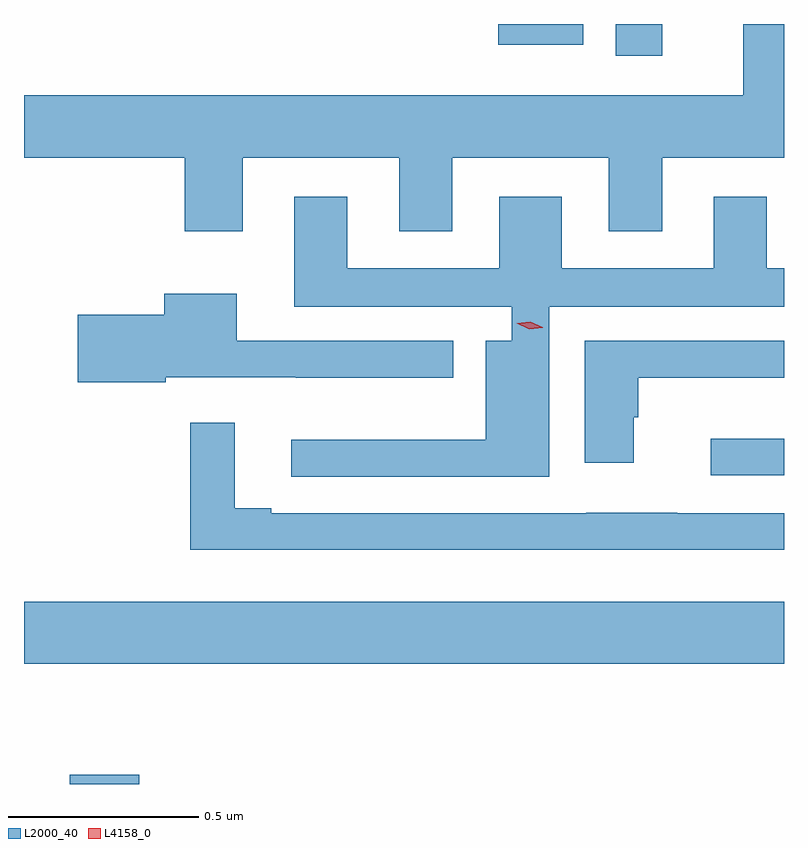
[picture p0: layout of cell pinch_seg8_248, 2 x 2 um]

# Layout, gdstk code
import gdstk
lib = gdstk.Library(unit=1e-6, precision=1e-09)
def R(c, l, rs):  # rectangles x0, y0, x1, y1
    for r in rs: c.add(gdstk.rectangle(r[:2], r[2:], *l))
def P(c, l, *ps):  # polygons
    for p in ps: c.add(gdstk.Polygon(p, *l))
L2000_40 = (2000, 40)
L4158_0 = (4158, 0)

pinch_seg8_248 = lib.new_cell('pinch_seg8_248')
R(pinch_seg8_248, L2000_40, [(812.906,1116.184,813.089,1116.208), (812.786,1116.5,814.786,1116.664), (814.593,1116.996,814.786,1117.093), (814.343,1118.1,814.465,1118.184), (814.034,1118.129,814.258,1118.184)])
P(pinch_seg8_248, L2000_40, [(813.361,1117.832),(813.773,1117.832),(813.773,1117.638),(813.913,1117.638),(813.913,1117.832),(814.325,1117.832),(814.325,1117.638),(814.465,1117.638),(814.465,1117.832),(814.786,1117.832),(814.786,1118.184),(814.679,1118.184),(814.679,1117.996),(812.786,1117.996),(812.786,1117.832),(813.209,1117.832),(813.209,1117.638),(813.361,1117.638)],
  [(814.168,1117.44),(814.786,1117.44),(814.786,1117.541),(814.741,1117.541),(814.741,1117.729),(814.601,1117.729),(814.601,1117.541),(814.201,1117.541),(814.201,1117.729),(814.037,1117.729),(814.037,1117.541),(813.637,1117.541),(813.637,1117.729),(813.497,1117.729),(813.497,1117.44),(814.07,1117.44),(814.07,1117.351),(814.001,1117.351),(814.001,1117.09),(813.489,1117.09),(813.489,1116.993),(814.168,1116.993)],
  [(813.159,1117.254),(813.501,1117.254),(813.501,1117.253),(813.916,1117.253),(813.916,1117.35),(813.346,1117.35),(813.346,1117.474),(813.155,1117.474),(813.155,1117.419),(812.928,1117.419),(812.928,1117.241),(813.159,1117.241)],
  [(814.39,1117.149),(814.403,1117.149),(814.403,1117.253),(814.786,1117.253),(814.786,1117.35),(814.262,1117.35),(814.262,1117.029),(814.39,1117.029)],
  [(814.786,1116.897),(814.505,1116.897),(814.505,1116.898),(814.266,1116.898),(814.266,1116.897),(813.436,1116.897),(813.436,1116.91),(813.34,1116.91),(813.34,1117.135),(813.223,1117.135),(813.223,1116.8),(814.786,1116.8)])
P(pinch_seg8_248, L4158_0, [(814.115,1117.381),(814.083,1117.396),(814.083,1117.396),(814.083,1117.396),(814.118,1117.401),(814.151,1117.386),(814.151,1117.385),(814.151,1117.385)])

lib.write_gds('pinch_seg8_248.gds')
